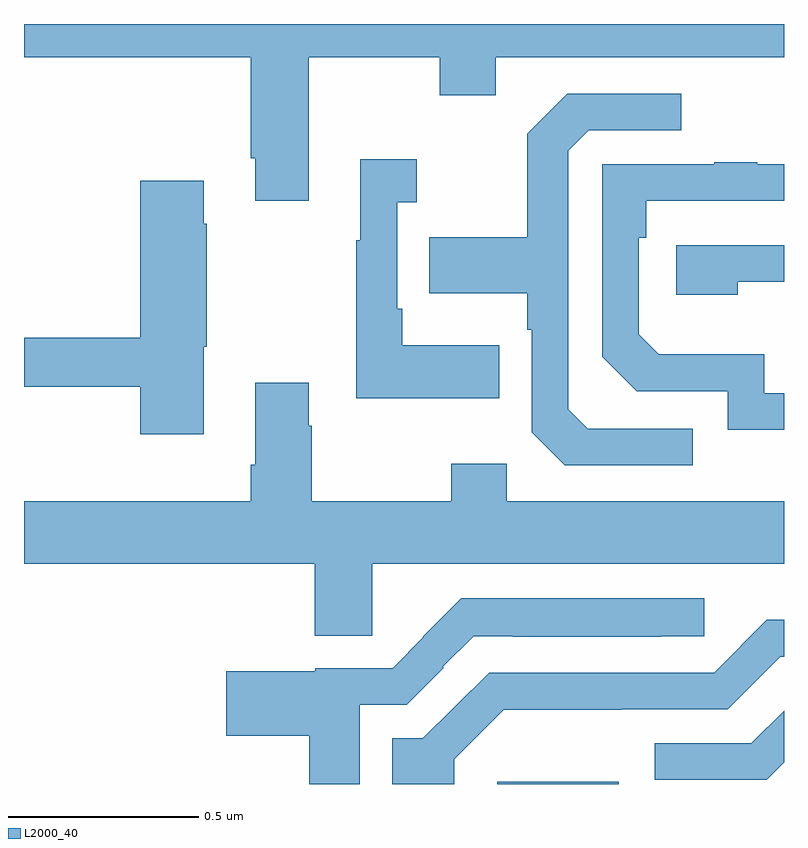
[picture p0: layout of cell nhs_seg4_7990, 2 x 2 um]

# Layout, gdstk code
import gdstk
lib = gdstk.Library(unit=1e-6, precision=1e-09)
def R(c, l, rs):  # rectangles x0, y0, x1, y1
    for r in rs: c.add(gdstk.rectangle(r[:2], r[2:], *l))
def P(c, l, *ps):  # polygons
    for p in ps: c.add(gdstk.Polygon(p, *l))
L2000_40 = (2000, 40)

nhs_seg4_7990 = lib.new_cell('nhs_seg4_7990')
R(nhs_seg4_7990, L2000_40, [(210.246,802.9,210.565,802.906)])
P(nhs_seg4_7990, L2000_40, [(209.749,804.812),(210.094,804.812),(210.094,804.713),(210.241,804.713),(210.241,804.812),(211,804.812),(211,804.9),(209,804.9),(209,804.812),(209.597,804.812),(209.597,804.547),(209.609,804.547),(209.609,804.435),(209.749,804.435)],
  [(210.76,803.835),(210.483,803.835),(210.432,803.886),(210.432,804.567),(210.486,804.621),(210.73,804.621),(210.73,804.717),(210.429,804.717),(210.324,804.611),(210.324,804.339),(210.067,804.339),(210.067,804.191),(210.324,804.191),(210.324,804.095),(210.336,804.095),(210.336,803.826),(210.423,803.739),(210.76,803.739)],
  [(210.251,804.055),(209.995,804.055),(209.995,804.151),(209.982,804.151),(209.982,804.431),(210.034,804.431),(210.034,804.544),(209.885,804.544),(209.885,804.331),(209.874,804.331),(209.874,803.915),(210.251,803.915)],
  [(211,803.928),(210.948,803.928),(210.948,804.031),(210.671,804.031),(210.618,804.084),(210.618,804.338),(210.638,804.338),(210.638,804.435),(211,804.435),(211,804.531),(210.929,804.531),(210.929,804.536),(210.817,804.536),(210.817,804.531),(210.522,804.531),(210.522,804.024),(210.612,803.934),(210.852,803.934),(210.852,803.832),(211,803.832)],
  [(209.473,804.051),(209.481,804.051),(209.481,804.374),(209.473,804.374),(209.473,804.487),(209.306,804.487),(209.306,804.074),(209,804.074),(209,803.946),(209.306,803.946),(209.306,803.82),(209.473,803.82)],
  [(210.878,804.222),(211,804.222),(211,804.318),(210.717,804.318),(210.717,804.188),(210.878,804.188)],
  [(209.916,803.48),(211,803.48),(211,803.644),(210.27,803.644),(210.27,803.743),(210.124,803.743),(210.124,803.644),(209.757,803.644),(209.757,803.843),(209.749,803.843),(209.749,803.956),(209.609,803.956),(209.609,803.74),(209.597,803.74),(209.597,803.644),(209,803.644),(209,803.48),(209.765,803.48),(209.765,803.29),(209.916,803.29)],
  [(209.884,803.109),(210.007,803.109),(210.104,803.206),(210.102,803.208),(210.183,803.289),(210.286,803.289),(210.286,803.288),(210.677,803.288),(210.677,803.289),(210.79,803.289),(210.79,803.389),(210.15,803.389),(210.049,803.288),(210.051,803.286),(209.97,803.205),(209.766,803.205),(209.766,803.197),(209.532,803.197),(209.532,803.027),(209.75,803.027),(209.75,802.9),(209.884,802.9)],
  [(210.132,802.965),(210.263,803.096),(210.572,803.096),(210.572,803.097),(210.852,803.097),(210.99,803.235),(211,803.235),(211,803.332),(210.955,803.332),(210.816,803.193),(210.224,803.193),(210.13,803.099),(210.129,803.1),(210.049,803.02),(209.969,803.02),(209.969,802.9),(210.132,802.9)],
  [(211,802.957),(211,803.093),(210.914,803.007),(210.66,803.007),(210.66,802.911),(210.954,802.911)])

lib.write_gds('nhs_seg4_7990.gds')
